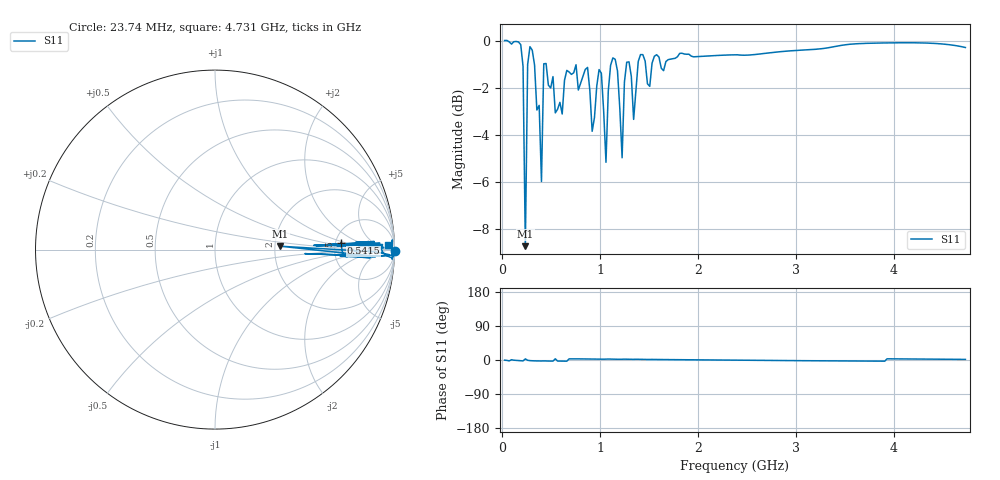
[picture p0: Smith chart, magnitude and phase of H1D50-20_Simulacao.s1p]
!Keysight Technologies N9923A: A.08.19
!Date: Thursday, 16 January 2020 11:30:00
!TimeZone: (GMT-03:00) Brasilia!Model: N9923A
!Serial: MY51491501
!GPS Latitude:
!GPS Longitude:
!GPS TimeStamp: 0001-01-01 00:00:00Z
!GPS Seconds Since Last Read: 0
!CHECKSUM:1078980270
!Correction: S11(ON U)
!S1P File: Measurement: S11:
# Hz S DB R 50
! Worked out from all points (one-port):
!   201 points, 23.74 MHz to 4.731 GHz, reference 50 ohm
!   lowest |S11| = -8.8 dB at 235.6 MHz (marker M1), VSWR 2.15, Z = 107 + j4.63 ohm
!   |S11| at or under -10 dB: nowhere
!   S11 on the Smith chart (normalised r, x): 23.74 MHz: open; 541.5 MHz: 5.58, +0.84; 4.731 GHz: 36, +29
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2.374e7  0.01 -0.5
1.884941e8  -0.17 -1.8
2.120304e8  -1.09 -2.4
2.355667e8  -8.75 2.9
2.59103e8  -1.02 -0.8
2.826393e8  -0.26 -1.7
3.767845e8  -2.76 -2.4
4.003208e8  -6.00 -2.6
4.238571e8  -0.99 -2.3
5.415386e8  -3.08 3.1
6.121475e8  -3.12 -3.0
6.592201e8  -1.27 -3.1
8.710468e8  -1.14 2.6
9.181194e8  -3.86 2.5
9.887283e8  -1.23 2.5
1.059337e9  -5.18 2.5
1.129946e9  -0.74 2.2
1.200555e9  -2.89 1.8
1.224091e9  -4.99 2.2
1.271164e9  -0.92 2.0
1.341773e9  -3.35 1.8
1.412382e9  -0.59 1.7
1.788962e9  -0.69 0.8
2.37737e9  -0.60 -0.5
2.965778e9  -0.43 -1.7
3.554185e9  -0.15 -2.6
4.142592e9  -0.09 2.8
4.731e9  -0.29 1.5
